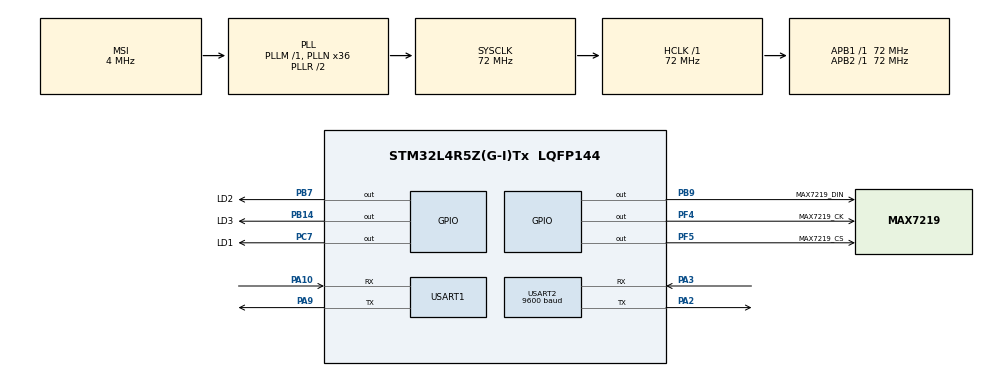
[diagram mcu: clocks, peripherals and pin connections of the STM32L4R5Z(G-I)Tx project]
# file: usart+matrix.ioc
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Mcu.Family=STM32L4
Mcu.Name=STM32L4R5Z(G-I)Tx
Mcu.Package=LQFP144
NVIC.PriorityGroup=NVIC_PRIORITYGROUP_4
NVIC.TIM3_IRQn=true\:0\:0\:false\:false\:true\:true\:true
NVIC.USART1_IRQn=true\:0\:0\:false\:false\:true\:true\:true
NVIC.USART2_IRQn=true\:0\:0\:false\:false\:true\:true\:true
PA10.Mode=Asynchronous
PA10.Signal=USART1_RX
PA2.Mode=Asynchronous
PA2.Signal=USART2_TX
PA3.Mode=Asynchronous
PA3.Signal=USART2_RX
PA9.Mode=Asynchronous
PA9.Signal=USART1_TX
PB14.GPIO_Label=LD3
PB14.Signal=GPIO_Output
PB7.GPIO_Label=LD2
PB7.Signal=GPIO_Output
PB9.GPIO_Label=MAX7219_DIN
PB9.GPIO_PuPd=GPIO_PULLUP
PB9.GPIO_Speed=GPIO_SPEED_FREQ_VERY_HIGH
PB9.Signal=GPIO_Output
PC7.GPIO_Label=LD1
PC7.Signal=GPIO_Output
PF4.GPIO_Label=MAX7219_CK
PF4.GPIO_ModeDefaultOutputPP=GPIO_MODE_OUTPUT_PP
PF4.GPIO_PuPd=GPIO_PULLUP
PF4.GPIO_Speed=GPIO_SPEED_FREQ_VERY_HIGH
PF4.PinState=GPIO_PIN_SET
PF4.Signal=GPIO_Output
PF5.GPIO_Label=MAX7219_CS
PF5.GPIO_PuPd=GPIO_PULLUP
PF5.GPIO_Speed=GPIO_SPEED_FREQ_VERY_HIGH
PF5.PinState=GPIO_PIN_SET
PF5.Signal=GPIO_Output
ProjectManager.HeapSize=0x200
ProjectManager.StackSize=0x400
ProjectManager.TargetToolchain=MDK-ARM V5
RCC.AHBFreq_Value=72000000
RCC.APB1Freq_Value=72000000
RCC.APB1TimFreq_Value=72000000
RCC.APB2Freq_Value=72000000
RCC.APB2TimFreq_Value=72000000
RCC.CortexFreq_Value=72000000
RCC.HCLKFreq_Value=72000000
RCC.HSE_VALUE=8000000
RCC.HSI48_VALUE=48000000
RCC.HSI_VALUE=16000000
RCC.LSE_VALUE=32768
RCC.MSI_VALUE=4000000
RCC.PLLN=36
RCC.SYSCLKFreq_VALUE=72000000
RCC.SYSCLKSource=RCC_SYSCLKSOURCE_PLLCLK
RCC.VCOOutputFreq_Value=144000000
TIM3.Period=10000-1
TIM3.Prescaler=7200-1
USART1.VirtualMode-Asynchronous=VM_ASYNC
USART2.BaudRate=9600
USART2.VirtualMode-Asynchronous=VM_ASYNC
VP_TIM3_VS_ClockSourceINT.Mode=Internal
board=custom

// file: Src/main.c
/* USER CODE BEGIN Header */
/**
  ******************************************************************************
  * @file           : main.c
  * @brief          : Main program body
  ******************************************************************************
  * @attention
  *
  * <h2><center>&copy; Copyright (c) 2020 STMicroelectronics.
  * All rights reserved.</center></h2>
  *
  * This software component is licensed by ST under BSD 3-Clause license,
  * the "License"; You may not use this file except in compliance with the
  * License. You may obtain a copy of the License at:
  *                        opensource.org/licenses/BSD-3-Clause
  *
  ******************************************************************************
  */
/* USER CODE END Header */

#include "main.h"
#include "tim.h"
#include "usart.h"
#include "gpio.h"

/* USER CODE BEGIN Includes */
#include "Max7219.h"
#include <stdio.h>
#include <string.h>

#define USER_MAIN_DEBUG

#ifdef USER_MAIN_DEBUG
	#define user_main_printf(format, ...) printf( format "\r\n", ##__VA_ARGS__)
	#define user_main_info(format, ...) printf("[\tmain]info:" format "\r\n", ##__VA_ARGS__)
	#define user_main_debug(format, ...) printf("[\tmain]debug:" format "\r\n", ##__VA_ARGS__)
	#define user_main_error(format, ...) printf("[\tmain]error:" format "\r\n", ##__VA_ARGS__)
#else
	#define user_main_printf(format, ...)
	#define user_main_info(format, ...)
	#define user_main_debug(format, ...)
	#define user_main_error(format, ...)
#endif

int fputc(int ch, FILE *f)
{
	uint8_t temp[1] = {ch};
	HAL_UART_Transmit(&huart1, temp, 1, 2);//the last element is running time
	return ch;
}
/* USER CODE END Includes */

/* USER CODE BEGIN PD */
uint8_t buffer1[10];		// 串口一存储

uint8_t buffer2[10];		// 串口二存储

/* USER CODE END PD */

void SystemClock_Config(void);

int main(void)
{

  /* MCU Configuration--------------------------------------------------------*/

  /* Reset of all peripherals, Initializes the Flash interface and the Systick. */
  HAL_Init();

  /* Configure the system clock */
  SystemClock_Config();

  /* Initialize all configured peripherals */
  MX_GPIO_Init();
  MX_TIM3_Init();
  MX_USART1_UART_Init();
  MX_USART2_UART_Init();
  /* USER CODE BEGIN 2 */
	HAL_Delay(50);
	Init_MAX7219();
	HAL_UART_Receive_IT(&huart1, (uint8_t *)aRxBuffer1, RXBUFFERSIZE);//该函数会开启接收中断：标志位UART_IT_RXNE，并且设置接收缓冲以及接收缓冲接收最大数据量
	HAL_UART_Receive_IT(&huart2, (uint8_t *)aRxBuffer2, RXBUFFERSIZE);//该函数会开启接收中断：标志位UART_IT_RXNE，并且设置接收缓冲以及接收缓冲接收最大数据量
	load_interface();
  /* USER CODE END 2 */

  /* Infinite loop */
  while (1)
  {
//		HAL_UART_Transmit(&huart2, temp2, 10, 2);//the last element is running time
    /* USER CODE BEGIN 3 */

		Max7219_Display();
  }
  /* USER CODE END 3 */
}

void SystemClock_Config(void)
{
  RCC_OscInitTypeDef RCC_OscInitStruct = {0};
  RCC_ClkInitTypeDef RCC_ClkInitStruct = {0};
  RCC_PeriphCLKInitTypeDef PeriphClkInit = {0};

  /** Configure the main internal regulator output voltage
  */
  if (HAL_PWREx_ControlVoltageScaling(PWR_REGULATOR_VOLTAGE_SCALE1) != HAL_OK)
  {
    Error_Handler();
  }
  /** Initializes the CPU, AHB and APB busses clocks
  */
  RCC_OscInitStruct.OscillatorType = RCC_OSCILLATORTYPE_MSI;
  RCC_OscInitStruct.MSIState = RCC_MSI_ON;
  RCC_OscInitStruct.MSICalibrationValue = 0;
  RCC_OscInitStruct.MSIClockRange = RCC_MSIRANGE_6;
  RCC_OscInitStruct.PLL.PLLState = RCC_PLL_ON;
  RCC_OscInitStruct.PLL.PLLSource = RCC_PLLSOURCE_MSI;
  RCC_OscInitStruct.PLL.PLLM = 1;
  RCC_OscInitStruct.PLL.PLLN = 36;
  RCC_OscInitStruct.PLL.PLLP = RCC_PLLP_DIV2;
  RCC_OscInitStruct.PLL.PLLQ = RCC_PLLQ_DIV2;
  RCC_OscInitStruct.PLL.PLLR = RCC_PLLR_DIV2;
  if (HAL_RCC_OscConfig(&RCC_OscInitStruct) != HAL_OK)
  {
    Error_Handler();
  }
  /** Initializes the CPU, AHB and APB busses clocks
  */
  RCC_ClkInitStruct.ClockType = RCC_CLOCKTYPE_HCLK|RCC_CLOCKTYPE_SYSCLK
                              |RCC_CLOCKTYPE_PCLK1|RCC_CLOCKTYPE_PCLK2;
  RCC_ClkInitStruct.SYSCLKSource = RCC_SYSCLKSOURCE_PLLCLK;
  RCC_ClkInitStruct.AHBCLKDivider = RCC_SYSCLK_DIV1;
  RCC_ClkInitStruct.APB1CLKDivider = RCC_HCLK_DIV1;
  RCC_ClkInitStruct.APB2CLKDivider = RCC_HCLK_DIV1;

  if (HAL_RCC_ClockConfig(&RCC_ClkInitStruct, FLASH_LATENCY_3) != HAL_OK)
  {
    Error_Handler();
  }
  PeriphClkInit.PeriphClockSelection = RCC_PERIPHCLK_USART1|RCC_PERIPHCLK_USART2;
  PeriphClkInit.Usart1ClockSelection = RCC_USART1CLKSOURCE_PCLK2;
  PeriphClkInit.Usart2ClockSelection = RCC_USART2CLKSOURCE_PCLK1;
  if (HAL_RCCEx_PeriphCLKConfig(&PeriphClkInit) != HAL_OK)
  {
    Error_Handler();
  }
}

/* USER CODE BEGIN 4 */

uint8_t myBuffer[] = "Message:";
uint8_t Enter[] = "\r\n";
void HAL_UART_RxCpltCallback(UART_HandleTypeDef *huart)
{
	while(HAL_UART_Transmit(&huart1, (uint8_t*)myBuffer, sizeof(myBuffer), 1000)!= HAL_OK);
	while(HAL_UART_Transmit(&huart1, (uint8_t*)aRxBuffer1, RXBUFFERSIZE, 1000)!= HAL_OK);
	while(HAL_UART_Transmit(&huart1, (uint8_t*)Enter, sizeof(Enter), 1000)!= HAL_OK);
	buffer1[0] = *aRxBuffer1;
	while(HAL_UART_Transmit(&huart2, (uint8_t*)myBuffer, sizeof(myBuffer), 1000)!= HAL_OK);
	while(HAL_UART_Transmit(&huart2, (uint8_t*)aRxBuffer2, RXBUFFERSIZE, 1000)!= HAL_OK);
	while(HAL_UART_Transmit(&huart2, (uint8_t*)Enter, sizeof(Enter), 1000)!= HAL_OK);
	buffer2[0] = *aRxBuffer2;
	printf("%s\r\n", buffer1);
	printf("%s\r\n", buffer2);
}

/* USER CODE END 4 */

void Error_Handler(void)
{
}

/************************ (C) COPYRIGHT STMicroelectronics *****END OF FILE****/
